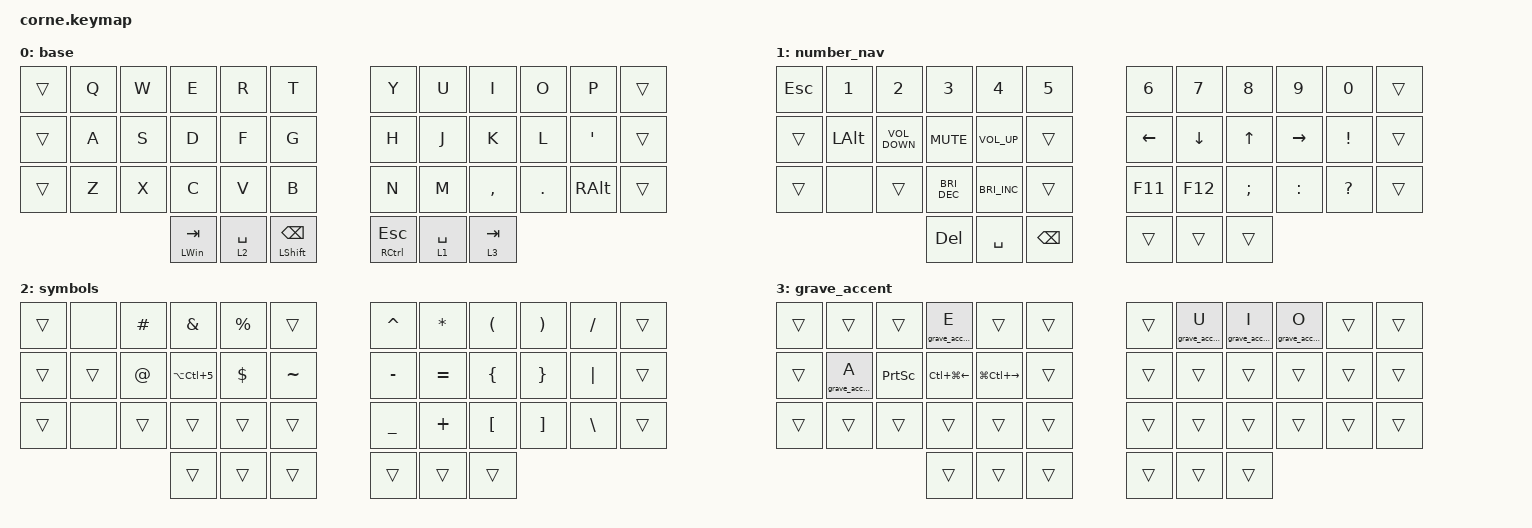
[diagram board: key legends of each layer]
/*
 * Copyright (c) 2020 The ZMK Contributors
 *
 * SPDX-License-Identifier: MIT
 */

#include <behaviors.dtsi>
#include <dt-bindings/zmk/keys.h>

&mt {
    quick-tap-ms = <175>;
    require-prior-idle-ms = <150>;
};

&lt { tapping-term-ms = <200>; };

/ {
    combos {
        compatible = "zmk,combos";

        combo_lshift {
            bindings = <&kp LEFT_SHIFT>;
            key-positions = <25 26>;
        };

        combo_rshift {
            bindings = <&kp RIGHT_SHIFT>;
            key-positions = <33 34>;
        };

        EnterLeft {
            bindings = <&kp RETURN>;
            key-positions = <16 15 14>;
            timeout-ms = <100>;
        };

        EnterRight {
            bindings = <&kp RETURN>;
            key-positions = <19 20 21>;
            timeout-ms = <100>;
        };

        BackspaceLeft {
            bindings = <&kp BACKSPACE>;
            key-positions = <4 3 2>;
            timeout-ms = <100>;
        };

        BackspaceRight {
            bindings = <&kp BACKSPACE>;
            key-positions = <7 8 9>;
            timeout-ms = <100>;
        };

        DeleteLeft {
            bindings = <&kp DEL>;
            key-positions = <28 28 26 27>;
            timeout-ms = <100>;
        };

        DeleteRight {
            bindings = <&kp DELETE>;
            key-positions = <32 31 33>;
            timeout-ms = <100>;
        };
    };

    conditional_layers { compatible = "zmk,conditional-layers"; };

    macros {
        grave_accent: grave_accent {
            compatible = "zmk,behavior-macro-one-param";
            #binding-cells = <1>;
            bindings = <&kp GRAVE &macro_param_1to1 &kp MACRO_PLACEHOLDER>;
            label = "grave_accent";
            wait-ms = <40>;
            tap-ms = <40>;
        };
    };

    keymap {
        compatible = "zmk,keymap";

        base {
            bindings = <
&trans  &kp Q  &kp W  &kp E             &kp R        &kp T                       &kp Y             &kp U        &kp I      &kp O    &kp P             &trans
&trans  &kp A  &kp S  &kp D             &kp F        &kp G                       &kp H             &kp J        &kp K      &kp L    &kp SINGLE_QUOTE  &trans
&trans  &kp Z  &kp X  &kp C             &kp V        &kp B                       &kp N             &kp M        &kp COMMA  &kp DOT  &kp RIGHT_ALT     &trans
                      &mt LEFT_WIN TAB  &lt 2 SPACE  &mt LEFT_SHIFT BACKSPACE    &mt RCTRL ESCAPE  &lt 1 SPACE  &lt 3 TAB
            >;
        };

        number_nav {
            bindings = <
&kp ESCAPE  &kp N1    &kp N2             &kp N3                &kp N4                &kp N5           &kp NUMBER_6  &kp NUMBER_7  &kp N8    &kp N9     &kp N0           &trans
&trans      &kp LALT  &kp C_VOLUME_DOWN  &kp C_MUTE            &kp C_VOLUME_UP       &trans           &kp LEFT      &kp DOWN      &kp UP    &kp RIGHT  &kp EXCLAMATION  &trans
&trans      &none     &trans             &kp C_BRIGHTNESS_DEC  &kp C_BRIGHTNESS_INC  &trans           &kp F11       &kp F12       &kp SEMI  &kp COLON  &kp QUESTION     &trans
                                         &kp DELETE            &kp SPACE             &kp BACKSPACE    &trans        &trans        &trans
            >;
        };

        symbols {
            bindings = <
&trans  &none   &kp HASH     &kp AMPERSAND   &kp PERCENT  &trans       &kp CARET       &kp ASTERISK  &kp LEFT_PARENTHESIS  &kp RIGHT_PARENTHESIS  &kp SLASH      &trans
&trans  &trans  &kp AT_SIGN  &kp LA(LC(N5))  &kp DOLLAR   &kp TILDE    &kp MINUS       &kp EQUAL     &kp LEFT_BRACE        &kp RIGHT_BRACE        &kp PIPE       &trans
&trans  &none   &trans       &trans          &trans       &trans       &kp UNDERSCORE  &kp PLUS      &kp LEFT_BRACKET      &kp RIGHT_BRACKET      &kp BACKSLASH  &trans
                             &trans          &trans       &trans       &trans          &trans        &trans
            >;
        };

        grave_accent {
            bindings = <
&trans  &trans           &trans           &grave_accent E         &trans                   &trans    &trans  &grave_accent U  &grave_accent I  &grave_accent O  &trans  &trans
&trans  &grave_accent A  &kp PRINTSCREEN  &kp LC(LG(LEFT_ARROW))  &kp LG(LC(RIGHT_ARROW))  &trans    &trans  &trans           &trans           &trans           &trans  &trans
&trans  &trans           &trans           &trans                  &trans                   &trans    &trans  &trans           &trans           &trans           &trans  &trans
                                          &trans                  &trans                   &trans    &trans  &trans           &trans
            >;
        };
    };
};
